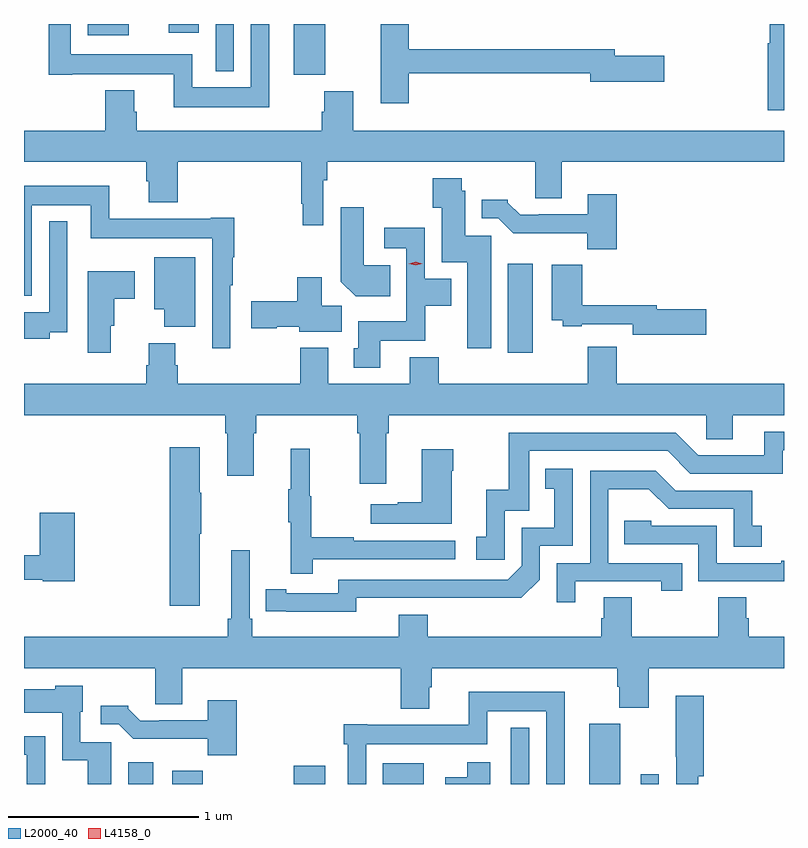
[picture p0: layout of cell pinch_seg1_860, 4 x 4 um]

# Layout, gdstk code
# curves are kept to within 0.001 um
import gdstk
lib = gdstk.Library(unit=1e-6, precision=1e-09)
def R(c, l, rs):  # rectangles x0, y0, x1, y1
    for r in rs: c.add(gdstk.rectangle(r[:2], r[2:], *l))
def P(c, l, *ps):  # polygons
    for p in ps: c.add(gdstk.Polygon(p, *l))
L2000_40 = (2000, 40)
L4158_0 = (4158, 0)

pinch_seg1_860 = lib.new_cell('pinch_seg1_860')
R(pinch_seg1_860, L2000_40, [(506.345,524.482,506.476,524.596), (506.576,524.482,506.738,524.551), (507.217,524.482,507.382,524.578), (507.686,524.482,507.901,524.59), (508.359,524.482,508.455,524.779), (508.772,524.482,508.936,524.799), (509.043,524.482,509.139,524.533), (508.343,526.752,508.474,527.221), (507.218,528.214,507.382,528.482), (506.805,528.233,506.901,528.482), (506.132,528.422,506.347,528.482), (506.558,528.435,506.716,528.482), (507.489,528.48,507.585,528.482)])
P(pinch_seg1_860, L2000_40, [(509.797,528.482),(509.723,528.482),(509.723,528.382),(509.711,528.382),(509.711,528.027),(509.797,528.027)],
  [(507.088,528.482),(506.991,528.482),(506.991,528.148),(506.682,528.148),(506.682,528.322),(506.043,528.322),(506.043,528.482),(505.927,528.482),(505.927,528.216),(506.05,528.216),(506.05,528.218),(506.585,528.218),(506.585,528.044),(507.088,528.044)],
  [(507.821,528.222),(508.778,528.222),(508.778,528.179),(509.167,528.179),(509.167,528.314),(508.906,528.314),(508.906,528.35),(507.821,528.35),(507.821,528.482),(507.675,528.482),(507.675,528.327),(507.674,528.327),(507.674,528.066),(507.821,528.066)],
  [(506.39,528.021),(506.377,528.021),(506.377,528.133),(506.225,528.133),(506.225,527.92),(505.797,527.92),(505.797,527.756),(506.441,527.756),(506.441,527.655),(506.453,527.655),(506.453,527.543),(506.606,527.543),(506.606,527.756),(507.256,527.756),(507.256,527.536),(507.264,527.536),(507.264,527.424),(507.372,527.424),(507.372,527.66),(507.392,527.66),(507.392,527.756),(508.487,527.756),(508.487,527.566),(508.627,527.566),(508.627,527.756),(509.797,527.756),(509.797,527.92),(507.53,527.92),(507.53,528.129),(507.377,528.129),(507.377,528.02),(507.365,528.02),(507.365,527.92),(506.39,527.92)],
  [(508.255,527.367),(508.12,527.367),(508.12,527.604),(508.101,527.604),(508.101,527.671),(507.949,527.671),(507.949,527.515),(507.995,527.515),(507.995,527.228),(508.13,527.228),(508.13,526.776),(508.255,526.776)],
  [(506.883,527.107),(506.896,527.107),(506.896,527.254),(506.903,527.254),(506.903,527.461),(506.78,527.461),(506.78,527.458),(506.246,527.458),(506.246,527.632),(505.797,527.632),(505.797,527.051),(505.839,527.051),(505.839,527.528),(506.148,527.528),(506.148,527.354),(506.787,527.354),(506.787,526.776),(506.883,526.776)],
  [(508.916,527.587),(508.763,527.587),(508.763,527.481),(508.507,527.481),(508.507,527.478),(508.408,527.478),(508.344,527.542),(508.344,527.557),(508.205,527.557),(508.205,527.46),(508.293,527.46),(508.372,527.382),(508.761,527.382),(508.761,527.297),(508.916,527.297)],
  [(507.725,527.212),(507.586,527.212),(507.586,527.518),(507.464,527.518),(507.464,527.126),(507.542,527.048),(507.725,527.048)],
  [(505.933,526.86),(506.025,526.86),(506.025,527.443),(505.929,527.443),(505.929,526.966),(505.797,526.966),(505.797,526.826),(505.933,526.826)],
  [(507.673,526.814),(507.909,526.814),(507.909,527),(508.045,527),(508.045,527.14),(507.906,527.14),(507.906,527.41),(507.693,527.41),(507.693,527.301),(507.81,527.301),(507.81,526.918),(507.557,526.918),(507.557,526.776),(507.533,526.776),(507.533,526.674),(507.673,526.674)],
  [(506.698,527.254),(506.483,527.254),(506.483,526.982),(506.534,526.982),(506.534,526.889),(506.698,526.889)],
  [(509.389,526.982),(509.128,526.982),(509.128,527.003),(508.736,527.003),(508.736,527.215),(508.574,527.215),(508.574,526.922),(508.632,526.922),(508.632,526.89),(508.732,526.89),(508.732,526.902),(509,526.902),(509,526.847),(509.389,526.847)],
  [(506.254,526.893),(506.272,526.893),(506.272,527.035),(506.38,527.035),(506.38,527.182),(506.132,527.182),(506.132,526.752),(506.254,526.752)],
  [(507.469,527),(507.364,527),(507.364,527.149),(507.235,527.149),(507.235,527.024),(506.994,527.024),(506.994,526.882),(507.126,526.882),(507.126,526.889),(507.246,526.889),(507.246,526.862),(507.469,526.862)],
  [(506.606,526.686),(506.593,526.686),(506.593,526.801),(506.453,526.801),(506.453,526.686),(506.441,526.686),(506.441,526.588),(505.797,526.588),(505.797,526.424),(506.855,526.424),(506.855,526.328),(506.867,526.328),(506.867,526.104),(507.007,526.104),(507.007,526.328),(507.02,526.328),(507.02,526.424),(507.551,526.424),(507.551,526.328),(507.563,526.328),(507.563,526.062),(507.703,526.062),(507.703,526.328),(507.716,526.328),(507.716,526.424),(509.388,526.424),(509.388,526.297),(509.527,526.297),(509.527,526.424),(509.797,526.424),(509.797,526.588),(508.916,526.588),(508.916,526.783),(508.763,526.783),(508.763,526.588),(507.98,526.588),(507.98,526.729),(507.827,526.729),(507.827,526.588),(507.397,526.588),(507.397,526.777),(507.25,526.777),(507.25,526.588),(506.606,526.588)],
  [(508.326,525.921),(508.455,525.921),(508.455,526.236),(509.184,526.236),(509.304,526.116),(509.79,526.116),(509.79,526.239),(509.797,526.239),(509.797,526.335),(509.693,526.335),(509.693,526.212),(509.346,526.212),(509.226,526.332),(508.347,526.332),(508.347,526.03),(508.229,526.03),(508.229,525.783),(508.176,525.783),(508.176,525.663),(508.326,525.663)],
  [(506.722,525.799),(506.73,525.799),(506.73,526.016),(506.722,526.016),(506.722,526.255),(506.564,526.255),(506.564,525.42),(506.722,525.42)],
  [(507.317,525.666),(508.066,525.666),(508.066,525.762),(507.533,525.762),(507.533,525.782),(507.31,525.782),(507.31,525.996),(507.302,525.996),(507.302,526.246),(507.2,526.246),(507.2,526.033),(507.189,526.033),(507.189,525.859),(507.2,525.859),(507.2,525.588),(507.317,525.588)],
  [(508.048,526.13),(508.056,526.13),(508.056,526.243),(507.89,526.243),(507.89,525.965),(507.764,525.965),(507.764,525.955),(507.621,525.955),(507.621,525.851),(508.048,525.851)],
  [(507.546,525.462),(508.414,525.461),(508.512,525.558),(508.512,525.735),(508.686,525.735),(508.686,526.141),(508.54,526.141),(508.54,526.035),(508.589,526.035),(508.589,525.831),(508.416,525.831),(508.416,525.63),(508.344,525.558),(507.45,525.558),(507.45,525.486),(507.178,525.486),(507.178,525.506),(507.07,525.506),(507.07,525.39),(507.546,525.389)],
  [(508.699,525.549),(509.15,525.549),(509.15,525.498),(509.261,525.498),(509.261,525.645),(508.872,525.645),(508.872,526.034),(509.086,526.034),(509.19,525.93),(509.532,525.93),(509.532,525.732),(509.68,525.732),(509.68,525.841),(509.631,525.841),(509.631,526.026),(509.227,526.026),(509.122,526.131),(508.776,526.131),(508.776,525.645),(508.602,525.645),(508.602,525.438),(508.699,525.438)],
  [(506.063,525.91),(505.88,525.91),(505.88,525.686),(505.797,525.686),(505.797,525.558),(505.896,525.558),(505.896,525.55),(506.063,525.55)],
  [(509.797,525.658),(509.783,525.658),(509.783,525.645),(509.442,525.645),(509.442,525.84),(509.097,525.84),(509.097,525.867),(508.957,525.867),(508.957,525.744),(509.346,525.744),(509.346,525.549),(509.797,525.549)],
  [(507.931,524.991),(507.944,524.991),(507.944,525.092),(508.919,525.092),(508.919,524.993),(508.931,524.993),(508.931,524.884),(509.084,524.884),(509.084,525.092),(509.797,525.092),(509.797,525.256),(509.612,525.256),(509.612,525.354),(509.599,525.354),(509.599,525.464),(509.452,525.464),(509.452,525.256),(508.995,525.256),(508.995,525.464),(508.847,525.464),(508.847,525.354),(508.835,525.354),(508.835,525.256),(507.923,525.256),(507.923,525.373),(507.77,525.373),(507.77,525.256),(506.999,525.256),(506.999,525.352),(506.985,525.352),(506.985,525.712),(506.888,525.712),(506.888,525.352),(506.869,525.352),(506.869,525.256),(505.797,525.256),(505.797,525.092),(506.489,525.092),(506.489,524.902),(506.629,524.902),(506.629,525.092),(507.779,525.092),(507.779,524.879),(507.931,524.879)],
  [(506.257,524.703),(506.094,524.703),(506.094,524.862),(506.107,524.862),(506.107,524.998),(505.962,524.998),(505.962,524.98),(505.797,524.98),(505.797,524.858),(505.998,524.858),(505.998,524.606),(506.132,524.606),(506.132,524.482),(506.257,524.482)],
  [(507.597,524.69),(508.236,524.69),(508.236,524.864),(508.545,524.864),(508.545,524.482),(508.642,524.482),(508.642,524.968),(508.139,524.968),(508.139,524.794),(507.604,524.794),(507.604,524.797),(507.481,524.797),(507.481,524.69),(507.501,524.69),(507.501,524.482),(507.597,524.482)],
  [(509.345,524.522),(509.375,524.522),(509.375,524.947),(509.228,524.947),(509.228,524.626),(509.229,524.626),(509.229,524.482),(509.345,524.482)],
  [(506.918,524.923),(506.765,524.923),(506.765,524.817),(506.509,524.817),(506.509,524.814),(506.41,524.814),(506.346,524.878),(506.346,524.893),(506.202,524.893),(506.202,524.796),(506.295,524.796),(506.371,524.72),(506.763,524.72),(506.763,524.633),(506.918,524.633)],
  [(505.908,524.733),(505.797,524.733),(505.797,524.637),(505.812,524.637),(505.812,524.482),(505.908,524.482)],
  [(508.252,524.596),(508.13,524.596),(508.13,524.518),(508.013,524.518),(508.013,524.482),(508.252,524.482)])
P(pinch_seg1_860, L4158_0, [(507.858,527.211),(507.822,527.221),(507.822,527.221),(507.822,527.221),(507.858,527.231),(507.894,527.221),(507.894,527.221),(507.894,527.221)])

lib.write_gds('pinch_seg1_860.gds')
